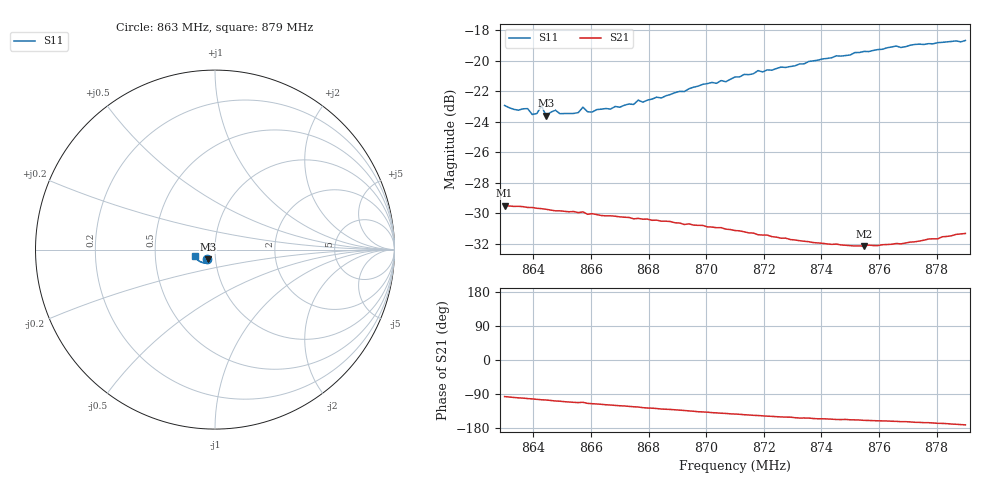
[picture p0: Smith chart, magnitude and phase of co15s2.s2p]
# HZ S RI R 50
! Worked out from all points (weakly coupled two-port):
!   101 points, 863 MHz to 879 MHz, reference 50 ohm
!   highest |S21| = -29.50 dB at 863 MHz (marker M1); lowest = -32.1 dB at 875.48 MHz (marker M2)
!   lowest |S11| = -23.6 dB at 864.44 MHz (marker M3), VSWR 1.14, Z = 46.1 - j4.98 ohm
!   |S11| at or under -10 dB: start of sweep to end of sweep
!   S12 and S22 are empty: the file has one direction only
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8.63e8  -0.0462 -0.0543  -0.00379 -0.0333  0 0  0 0
8.6348e8  -0.0421 -0.0544  -0.00573 -0.0328  0 0  0 0
8.638e8  -0.0418 -0.0556  -0.00672 -0.0324  0 0  0 0
8.6396e8  -0.0394 -0.0537  -0.0073 -0.0322  0 0  0 0
8.6412e8  -0.0389 -0.0547  -0.00785 -0.0319  0 0  0 0
8.6428e8  -0.0416 -0.0576  -0.00847 -0.0316  0 0  0 0
8.6444e8  -0.0382 -0.0539  -0.00872 -0.0314  0 0  0 0
8.6476e8  -0.0399 -0.0561  -0.01 -0.0306  0 0  0 0
8.6492e8  -0.0378 -0.0553  -0.0104 -0.0305  0 0  0 0
8.6556e8  -0.0368 -0.0567  -0.0121 -0.0294  0 0  0 0
8.6572e8  -0.0429 -0.0558  -0.0118 -0.0297  0 0  0 0
8.6604e8  -0.035 -0.0581  -0.0135 -0.0285  0 0  0 0
8.6748e8  -0.0349 -0.0628  -0.0167 -0.0253  0 0  0 0
8.6764e8  -0.0369 -0.0644  -0.017 -0.0252  0 0  0 0
8.678e8  -0.0369 -0.063  -0.0177 -0.0246  0 0  0 0
8.6844e8  -0.0371 -0.0657  -0.0189 -0.023  0 0  0 0
8.7068e8  -0.0461 -0.0717  -0.0218 -0.0177  0 0  0 0
8.71e8  -0.0492 -0.0734  -0.0221 -0.0169  0 0  0 0
8.7372e8  -0.0677 -0.0733  -0.0229 -0.0109  0 0  0 0
8.7548e8  -0.0836 -0.067  -0.0231 -0.00875  0 0  0 0
8.7644e8  -0.0921 -0.0615  -0.0238 -0.00789  0 0  0 0
8.79e8  -0.1101 -0.0375  -0.0269 -0.00416  0 0  0 0
